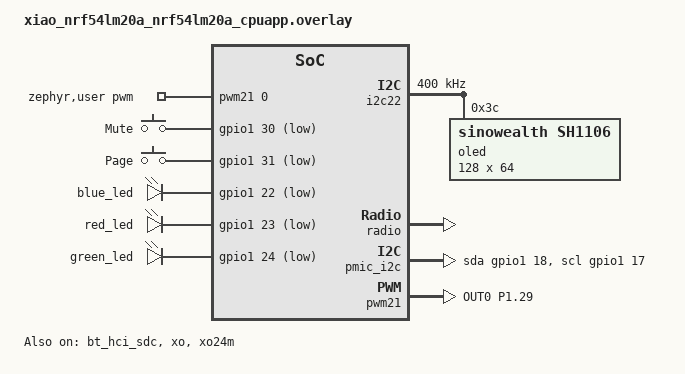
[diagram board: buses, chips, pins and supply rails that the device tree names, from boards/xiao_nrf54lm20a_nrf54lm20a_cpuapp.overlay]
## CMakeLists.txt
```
cmake_minimum_required(VERSION 3.20.0)

find_package(Zephyr REQUIRED HINTS $ENV{ZEPHYR_BASE})
project(claude_buddy)

target_sources(app PRIVATE
  src/main.c
  src/ble_svc.c
  src/mood.c
  src/buddy_cfg.c
  src/cfg_store.c
  src/face.c
  src/sound.c
  src/battery.c
  src/battery_gauge.c
  src/battery_log.c
  src/measure_mode.c
  src/battery_log_store.c
  src/buddy_clock.c
  src/buzzer.c
  src/ui.c
  src/motion.c
  src/shake.c
)

target_sources_ifdef(CONFIG_BUDDY_SMP_UPDATE app PRIVATE src/smp_update.c)

# The battery gauge needs a model of the cell. The SDK's sample ships an example; replace it with a model of your own cell
# (made with the nPM PowerUP app) by passing -DBUDDY_BATTERY_MODEL_DIR=<directory containing battery_model.inc>, or by setting
# the environment variable of the same name (sysbuild does not forward custom -D variables to the application; tools/build-xiao.sh uses the environment).
# The model is not copied into this repository because the SDK's files have their own license.
if(CONFIG_BUDDY_FUEL_GAUGE)
  if(NOT DEFINED BUDDY_BATTERY_MODEL_DIR AND DEFINED ENV{BUDDY_BATTERY_MODEL_DIR})
    set(BUDDY_BATTERY_MODEL_DIR $ENV{BUDDY_BATTERY_MODEL_DIR})
  endif()
  if(NOT DEFINED BUDDY_BATTERY_MODEL_DIR)
    set(BUDDY_BATTERY_MODEL_DIR ${ZEPHYR_NRF_MODULE_DIR}/samples/pmic/native/npm13xx_fuel_gauge/src)
  endif()
  target_include_directories(app PRIVATE ${BUDDY_BATTERY_MODEL_DIR})
endif()
```

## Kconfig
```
mainmenu "Claude Buddy"

config BUDDY_FUEL_GAUGE
	bool "Battery gauge for the nPM1300 power chip"
	default y if $(dt_alias_enabled,buddy-charger)
	select SENSOR
	select NRF_FUEL_GAUGE
	imply LED
	help
	  Reads the cell and the charger of an nPM1300 and estimates the charge with Nordic's fuel gauge library.
	  Turns on by itself when the board overlay defines the alias "buddy-charger" (the XIAO overlay does).

config BUDDY_CELL_THERMISTOR
	bool "The cell's thermistor is wired to the power chip's NTC pin"
	default y
	depends on BUDDY_FUEL_GAUGE
	help
	  Reports the cell's temperature (battery screen, web page). Turn it off on a board whose NTC pin has a
	  fixed resistor instead of the cell's thermistor (the XIAO nRF54LM20A): the reading would only show that
	  resistor, about 25 C, whatever the cell's temperature.

config BUDDY_BATTERY_SIMULATION
	bool "Accept battery readings written over Bluetooth"
	default y if !BUDDY_FUEL_GAUGE
	help
	  Lets the bridge (the web page's test section) pretend there is a battery, so the battery screen
	  and the low-battery warning can be tried on a board without a fuel gauge. Turn it off on hardware
	  that measures a real battery.

config BUDDY_SMP_UPDATE
	bool "Accept firmware updates over Bluetooth in the application"
	depends on BOOTLOADER_MCUBOOT
	default y
	select NCS_SAMPLE_MCUMGR_BT_OTA_DFU
	select MCUMGR_GRP_OS
	select MCUBOOT_BOOTUTIL_LIB
	help
	  MCUboot with two image slots, and the application itself runs the SMP server that takes the new image into the
	  second slot. With BUDDY_REQUIRE_PAIRING the SMP service needs an encrypted link, so only a paired bridge can
	  update. MCUboot checks the signature, swaps the images at the next restart, and swaps back if the new one does
	  not confirm itself (smp_update.c).

# The SDK's Bluetooth DFU helper makes the SMP service open to anyone; with pairing it needs the encrypted link.
# Kconfig takes the first default whose condition holds, and this file is read before the SDK's.
choice MCUMGR_TRANSPORT_BT_PERM
	default MCUMGR_TRANSPORT_BT_PERM_RW_ENCRYPT if BUDDY_SMP_UPDATE && BUDDY_REQUIRE_PAIRING
endchoice

config BUDDY_REQUIRE_PAIRING
	bool "Only talk to paired (bonded) centrals"
	default y
	select BT_SMP
	select BT_SETTINGS
	select BT_SMP_SC_PAIR_ONLY
	select BT_SMP_APP_PAIRING_ACCEPT
	help
	  Every characteristic except the version needs an encrypted link. The buddy accepts a new pairing only
	  while its pairing window is open: automatically for two minutes after boot while nothing is paired, and
	  after holding the mute button for 3 seconds. Holding it for 8 seconds forgets every pairing.
	  Pairing is LE Secure Connections "Just Works": it keeps strangers out, but someone attacking exactly while
	  the window is open could still pair.

source "Kconfig.zephyr"
```

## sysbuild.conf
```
# Seeed XIAO nRF54LM20A: MCUboot with two image slots in the on-chip memory (swap using move). The application takes
# the new image over Bluetooth itself (BUDDY_SMP_UPDATE). Sysbuild reads this file by itself.
SB_CONFIG_BOOTLOADER_MCUBOOT=y
SB_CONFIG_MCUBOOT_MODE_SWAP_USING_MOVE=y
SB_CONFIG_BOOT_SIGNATURE_TYPE_ED25519=y
# The public key is built into MCUboot, not stored in the chip's key store: the XIAO's USB-C probe (CMSIS-DAP) cannot
# run the key provisioning that nrfutil does over a J-Link.
SB_CONFIG_MCUBOOT_SIGNATURE_USING_KMU=n
```

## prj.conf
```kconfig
CONFIG_NCS_SAMPLES_DEFAULTS=y

CONFIG_BT=y
CONFIG_BT_PERIPHERAL=y
CONFIG_BT_DEVICE_NAME="Claude Buddy"
# The name gets the last two bytes of the device address appended at boot (see ble_svc.c), so buddies in range differ.
CONFIG_BT_DEVICE_NAME_DYNAMIC=y
CONFIG_BT_DEVICE_NAME_MAX=24
# Pairing (BUDDY_REQUIRE_PAIRING): up to three bridges (e.g. home, office, a spare); the oldest pairing is replaced
CONFIG_BT_MAX_PAIRED=3
CONFIG_BT_KEYS_OVERWRITE_OLDEST=y

CONFIG_LOG=y

CONFIG_DK_LIBRARY=y

CONFIG_DISPLAY=y
CONFIG_I2C=y
CONFIG_PWM=y

CONFIG_SYSTEM_WORKQUEUE_STACK_SIZE=2048

# Accept prepared (long/reliable) writes from centrals such as nRF Connect.
CONFIG_BT_ATT_PREPARE_COUNT=4

# Settings saved across power cycles (stored in the on-chip non-volatile memory)
CONFIG_FLASH=y
CONFIG_FLASH_MAP=y
CONFIG_ZMS=y
CONFIG_SETTINGS=y
```

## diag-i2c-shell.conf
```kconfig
# Diagnostic build: adds a serial shell with "i2c scan" to find the OLED address.
CONFIG_SHELL=y
CONFIG_I2C_SHELL=y
```

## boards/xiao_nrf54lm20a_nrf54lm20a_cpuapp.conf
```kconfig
# Settings for the Seeed XIAO nRF54LM20A (battery powered). The pins of what you connect to it are in the overlay next to this file.

# No cell temperature: the power chip's NTC pin has a fixed 10 k resistor, not the cell's thermistor.
CONFIG_BUDDY_CELL_THERMISTOR=n

# The accelerometer (motion.c sets its registers itself: Zephyr's LSM6DSL driver has no tap or free-fall interrupts).
CONFIG_LSM6DSL=n
# The accelerometer's supply is the power chip's LDO1 (see the overlay).
CONFIG_REGULATOR=y
```

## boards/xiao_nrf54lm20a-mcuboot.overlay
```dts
/*
 * MCUboot has no kernel, so it cannot use the board's power chip (an I2C device with a work queue) or its enable
 * regulator. Leave both to the application. tools/build-xiao.sh passes this file to the MCUboot image:
 *   -Dmcuboot_EXTRA_DTC_OVERLAY_FILE=<path to this file>
 * (Not sysbuild/mcuboot.overlay: that would replace MCUboot's own overlay, and MCUboot would be linked at the
 * application's address.)
 */

/delete-node/ &pmic;
/delete-node/ &pmic_i2c;
/delete-node/ &power_en;
```

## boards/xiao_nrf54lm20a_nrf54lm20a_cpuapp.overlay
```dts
/*
 * Seeed XIAO nRF54LM20A: display, buzzer and buttons on the XIAO header pins, and the board's nPM1300 as the battery gauge.
 *
 *   D4 (P1.03) SDA and D5 (P1.07) SCL  SH1106 128x64 OLED, I2C address 0x3c (the board's default XIAO I2C pins)
 *   D3 (P1.29)                         passive piezo buzzer to GND, PWM21 (optional)
 *   D2 (P1.30) button "mute"           to GND, internal pull-up (button 2 in main.c)
 *   D1 (P1.31) button "page"           to GND, internal pull-up (button 3 in main.c)
 * D0..D3 are the header pins with no default peripheral, so the board's uart21 (D6/D7), spi23 (D8..D10) and i2c22 stay usable.
 *   The board's own user button (P0.09) is button 1 (poke).
 * The display's supply comes from the XIAO's 3V3 pin, ground from a GND pin.
 */

#include <zephyr/dt-bindings/i2c/i2c.h>
#include <zephyr/dt-bindings/input/input-event-codes.h>
#include <zephyr/dt-bindings/regulator/npm13xx.h>

&pinctrl {
	pwm21_default: pwm21_default {
		group1 {
			psels = <NRF_PSEL(PWM_OUT0, 1, 29)>;
		};
	};

	pwm21_sleep: pwm21_sleep {
		group1 {
			psels = <NRF_PSEL(PWM_OUT0, 1, 29)>;
			low-power-enable;
		};
	};
};

&i2c22 {
	status = "okay";
	clock-frequency = <I2C_BITRATE_FAST>;
	/* One display row is 1 control byte + 128 data bytes in a single transfer. */
	zephyr,concat-buf-size = <256>;
	zephyr,flash-buf-max-size = <256>;

	oled: sh1106@3c {
		compatible = "sinowealth,sh1106";
		reg = <0x3c>;
		width = <128>;
		height = <64>;
		segment-offset = <2>;
		page-offset = <0>;
		display-offset = <0>;
		multiplex-ratio = <63>;
		segment-remap;
		com-invdir;
		prechargep = <0x22>;
	};
};

/* The board file selects Zephyr's own Bluetooth controller, which does not build in the SDK: use Nordic's. */
&bt_hci_controller {
	status = "disabled";
};

&bt_hci_sdc {
	status = "okay";
};

/* What Nordic's controller needs; the XIAO board file does not enable it. */
&radio {
	status = "okay";
};

&clock {
	status = "okay";
};

&xo {
	status = "okay";
};

&lfclk {
	status = "okay";
};

&xo24m {
	status = "okay";
};

/*
 * The board file puts the nPM1300's I2C on P1.15/P1.16, but Seeed's schematic (V1.0) has PMIC_SDA on P1.18 and PMIC_SCL
 * on P1.17 (4.7k pull-ups on the board). Without this the power chip is never found and there is no battery gauge.
 */
&pmic_i2c {
	sda-gpios = <&gpio1 18 GPIO_ACTIVE_HIGH>;
	scl-gpios = <&gpio1 17 GPIO_ACTIVE_HIGH>;
};

/*
 * The power chip's LED outputs drive the board's charge LEDs, which light at their reset default (Seeed's schematic: LED1
 * charging, LED0 charge failure), which can cost a few mA. Host mode leaves them off.
 */
&pmic {
	npm1300_leds: leds {
		compatible = "nordic,npm1300-led";
		nordic,led0-mode = "host";
		nordic,led1-mode = "host";
		nordic,led2-mode = "host";
	};
};

/*
 * Charge current for the planned LP402030 cell (200 mAh): 100 mA is 0.5C, the usual standard charge rate. The board file's
 * 150 mA would be 0.75C. The board has no cell thermistor input (NTC has a fixed 10 k to ground), so the charger cannot
 * stop for temperature; a gentler current makes up for some of that.
 */
&pmic_charger {
	current-microamp = <100000>;
};

/*
 * The accelerometer (LSM6DS3TR-C on i2c30, INT1 on P0.06) and the microphone run from the power chip's LDO1. The board
 * file sets it to 1.8 V, but the nRF's pins are at 3.3 V (VSYS_3V3) and the sensor's I2C pull-ups go to its own supply.
 * Going by the schematic (not measured), the nRF then cannot read a 1.8 V "high" (0.7 x VDD = 2.3 V), and its 3.3 V
 * outputs drive the sensor's pins above its supply. 3.3 V suits both sides (the sensor takes 1.71 to 3.6 V).
 */
&pmic {
	regulators {
		LDO1 {
			regulator-min-microvolt = <3300000>;
			regulator-max-microvolt = <3300000>;
			regulator-initial-mode = <NPM13XX_LDSW_MODE_LDO>;
		};
	};
};

/*
 * The RGB LED on P1.22/23/24 lights when its pin is low, but the board file declares it active high. The LED driver, which
 * the fuel gauge pulls in, then drives the pins low as "off" and the LED stays lit: confirmed on a board, where this cost
 * about 1.5 mA (1.75 mA idle before, 0.187 mA after). Declaring the true polarity makes "off" mean high.
 */
&blue_led {
	gpios = <&gpio1 22 GPIO_ACTIVE_LOW>;
};

&red_led {
	gpios = <&gpio1 23 GPIO_ACTIVE_LOW>;
};

&green_led {
	gpios = <&gpio1 24 GPIO_ACTIVE_LOW>;
};

&pwm21 {
	status = "okay";
	pinctrl-0 = <&pwm21_default>;
	pinctrl-1 = <&pwm21_sleep>;
	pinctrl-names = "default", "sleep";
};

/ {
	chosen {
		zephyr,display = &oled;
		zephyr,bt-hci = &bt_hci_sdc;
	};

	zephyr,user {
		pwms = <&pwm21 0 PWM_HZ(2000) PWM_POLARITY_NORMAL>;
	};

	/* Added after the board's own button, so the firmware sees them as buttons 2 and 3 (see main.c). */
	buttons {
		ext_button_mute: button_1 {
			gpios = <&gpio1 30 (GPIO_PULL_UP | GPIO_ACTIVE_LOW)>;
			label = "Mute";
			zephyr,code = <INPUT_KEY_1>;
		};

		ext_button_page: button_2 {
			gpios = <&gpio1 31 (GPIO_PULL_UP | GPIO_ACTIVE_LOW)>;
			label = "Page";
			zephyr,code = <INPUT_KEY_2>;
		};
	};

	aliases {
		buddy-charger = &pmic_charger;
	};
};
```

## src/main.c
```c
#include <errno.h>

#include <zephyr/kernel.h>
#include <zephyr/logging/log.h>

#include <dk_buttons_and_leds.h>

#include "ble_svc.h"
#include "battery_gauge.h"
#include "battery_log_store.h"
#include "buzzer.h"
#include "cfg_store.h"
#include "motion.h"
#include "ui.h"

LOG_MODULE_REGISTER(main, LOG_LEVEL_INF);

/*
 * The XIAO's own user button pokes. The mute button is also the pairing button: a short press toggles mute (acted on at
 * release), holding it 3 s opens the pairing window, 8 s forgets every pairing. The page button flips the pages. The
 * eye style is set from the web page.
 */
#define POKE_BUTTON DK_BTN1_MSK
#define MUTE_BUTTON DK_BTN2_MSK
#define PAGE_BUTTON DK_BTN3_MSK

static int on_battery(const struct battery_state *battery)
{
	ui_set_battery(battery);
	return 0;
}

static void on_motion(enum motion_event event)
{
	ui_post_motion((uint8_t)event);
}

static void on_link(bool connected)
{
	ui_set_connected(connected);
}

#define PAIR_HOLD_MS 3000
#define FORGET_HOLD_MS 8000
static bool pair_held_long;

static void pair_hold_fn(struct k_work *work)
{
	pair_held_long = true;
	ble_svc_pairing_open();
}

static void forget_hold_fn(struct k_work *work)
{
	pair_held_long = true;
	ble_svc_forget_bonds();
}

static K_WORK_DELAYABLE_DEFINE(pair_hold_work, pair_hold_fn);
static K_WORK_DELAYABLE_DEFINE(forget_hold_work, forget_hold_fn);

static void toggle_mute(void)
{
	struct buddy_cfg cfg;

	cfg_store_toggle_mute();
	cfg_store_get(&cfg);
	ui_show_mute_toast((cfg.flags & BUDDY_CFG_FLAG_MUTED) != 0);
	buzzer_play(SOUND_UNMUTED); /* silent unless the buzzer was just unmuted */
}

static void on_button(uint32_t button_state, uint32_t has_changed)
{
	uint32_t pressed = button_state & has_changed;
	uint32_t released = ~button_state & has_changed;

	if (pressed & MUTE_BUTTON) {
		pair_held_long = false;
		k_work_reschedule(&pair_hold_work, K_MSEC(PAIR_HOLD_MS));
		k_work_reschedule(&forget_hold_work, K_MSEC(FORGET_HOLD_MS));
	}

	if (pressed & POKE_BUTTON) {
		ui_post_poke();
	}
	if ((released & MUTE_BUTTON) != 0) {
		(void)k_work_cancel_delayable(&pair_hold_work);
		(void)k_work_cancel_delayable(&forget_hold_work);
		if (!pair_held_long) {
			toggle_mute();
		}
	}
	if (pressed & PAGE_BUTTON) {
		ui_post_page_toggle();
	}
}

int main(void)
{
	int err;

	err = cfg_store_init();
	if (err != 0) {
		LOG_WRN("Continuing with default settings");
	}

	err = battery_log_store_init();
	if (err != 0) {
		LOG_WRN("Continuing without the saved battery log");
	}

	err = dk_buttons_init(on_button);
	if (err != 0) {
		LOG_ERR("Buttons init failed (%d)", err);
		return 0;
	}

	err = buzzer_init();
	if (err != 0) {
		LOG_WRN("Continuing without a buzzer");
	}

	err = battery_gauge_init();
	if (err != 0) {
		LOG_WRN("Continuing without a battery gauge");
	}

	err = ui_init();
	if (err != 0) {
		LOG_ERR("UI init failed (%d)", err);
		return 0;
	}

	err = motion_init(on_motion);
	if (err != 0 && err != -ENODEV) {
		LOG_WRN("Continuing without the accelerometer (%d)", err);
	}

	err = ble_svc_init(ui_post_event, on_link, ui_set_usage, buzzer_set_time, on_battery);
	if (err != 0) {
		return 0;
	}

	return 0; /* everything else happens in other threads and callbacks */
}
```

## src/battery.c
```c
#include <errno.h>
#include <stdlib.h>

#include "battery.h"

#define CRITICAL_ENTER 10
#define CRITICAL_EXIT 15
#define LOW_ENTER 20
#define LOW_EXIT 25

int battery_from_wire(struct battery_state *s, const uint8_t *buf, size_t len)
{
	if (len != BATTERY_WIRE_SIZE || buf[0] != BATTERY_FORMAT || (buf[1] & ~BATTERY_FLAGS_KNOWN) != 0 ||
	    buf[2] > 100) {
		return -EINVAL;
	}
	uint16_t mv = (uint16_t)(buf[3] | (buf[4] << 8));
	bool present = (buf[1] & BATTERY_FLAG_PRESENT) != 0;
	bool charging = (buf[1] & BATTERY_FLAG_CHARGING) != 0;
	bool full = (buf[1] & BATTERY_FLAG_FULL) != 0;

	if (mv > 5000 || (charging && full) || (!present && (buf[1] != 0 || buf[2] != 0 || mv != 0))) {
		return -EINVAL;
	}
	s->present = present;
	s->charging = charging;
	s->full = full;
	s->percent = buf[2];
	s->mv = mv;
	s->power_known = false; /* a test write carries no current or temperature */
	s->current_ma = 0;
	s->die_temp_c = 0;
	s->cell_temp_known = false;
	s->cell_temp_c = 0;
	return 0;
}

void battery_to_wire(const struct battery_state *s, uint8_t out[BATTERY_WIRE_SIZE_FULL])
{
	int16_t current = s->power_known ? s->current_ma : INT16_MIN;
	int8_t temp = s->power_known ? s->die_temp_c : INT8_MIN;

	out[0] = BATTERY_FORMAT;
	out[1] = (s->present ? BATTERY_FLAG_PRESENT : 0) | (s->charging ? BATTERY_FLAG_CHARGING : 0) |
		 (s->full ? BATTERY_FLAG_FULL : 0);
	out[2] = s->percent;
	out[3] = (uint8_t)s->mv;
	out[4] = (uint8_t)(s->mv >> 8);
	out[5] = (uint8_t)current;
	out[6] = (uint8_t)((uint16_t)current >> 8);
	out[7] = (uint8_t)temp;
	out[8] = s->cell_temp_known ? (uint8_t)s->cell_temp_c : (uint8_t)INT8_MIN;
}

static int8_t celsius_to_i8(float c)
{
	c += c >= 0.0f ? 0.5f : -0.5f; /* round to nearest; the cast truncates */
	return (int8_t)(c > 125.0f ? 125 : c < -40.0f ? -40 : c);
}

void battery_state_set_power(struct battery_state *s, float current_a, float die_temp_c, float cell_temp_c)
{
	s->power_known = false;
	s->current_ma = 0;
	s->die_temp_c = 0;
	s->cell_temp_known = false;
	s->cell_temp_c = 0;
	if (!s->present) {
		return;
	}
	if (cell_temp_c == cell_temp_c) { /* not NaN */
		s->cell_temp_c = celsius_to_i8(cell_temp_c);
		s->cell_temp_known = true;
	}
	if (current_a != current_a || die_temp_c != die_temp_c) {
		return;
	}
	float ma = current_a * 1000.0f;

	ma += ma >= 0.0f ? 0.5f : -0.5f;
	s->current_ma = (int16_t)(ma > 5000.0f ? 5000 : ma < -5000.0f ? -5000 : ma);
	s->die_temp_c = celsius_to_i8(die_temp_c);
	s->power_known = true;
}

bool battery_state_differs(const struct battery_state *a, const struct battery_state *b)
{
	if (a->present != b->present || a->charging != b->charging || a->full != b->full || a->percent != b->percent ||
	    a->mv != b->mv || a->power_known != b->power_known || a->cell_temp_known != b->cell_temp_known) {
		return true;
	}
	return (a->power_known && (abs(a->current_ma - b->current_ma) >= BATTERY_CURRENT_STEP_MA ||
				   abs(a->die_temp_c - b->die_temp_c) >= BATTERY_TEMP_STEP_C)) ||
	       (a->cell_temp_known && abs(a->cell_temp_c - b->cell_temp_c) >= BATTERY_TEMP_STEP_C);
}

void battery_charge_from_npm_status(uint32_t status, bool *charging, bool *full)
{
	*full = (status & BATTERY_NPM_STATUS_COMPLETE) != 0;
	*charging = !*full && (status & (BATTERY_NPM_STATUS_TRICKLE | BATTERY_NPM_STATUS_CC | BATTERY_NPM_STATUS_CV)) != 0;
}

void battery_state_from_gauge(struct battery_state *out, float soc_percent, uint16_t mv, uint32_t npm_status)
{
	if (mv < BATTERY_PRESENT_MIN_MV || mv > 5000) {
		*out = (struct battery_state){0};
		return;
	}
	out->present = true;
	battery_charge_from_npm_status(npm_status, &out->charging, &out->full);
	if (!(soc_percent > 0.0f)) { /* also catches NaN */
		out->percent = 0;
	} else if (soc_percent >= 100.0f) {
		out->percent = 100;
	} else {
		out->percent = (uint8_t)(soc_percent + 0.5f);
	}
	out->mv = mv;
}

uint8_t battery_percent_from_mv(uint16_t mv)
{
	static const struct {
		uint16_t mv;
		uint8_t pct;
	} curve[] = {
		{3270, 0},   {3610, 5},   {3690, 10},  {3710, 15},  {3730, 20},  {3750, 25},  {3770, 30},
		{3790, 35},  {3800, 40},  {3820, 45},  {3840, 50},  {3850, 55},  {3870, 60},  {3910, 65},
		{3950, 70},  {3980, 75},  {4020, 80},  {4080, 85},  {4110, 90},  {4150, 95},  {4200, 100},
	};
	const size_t n = sizeof(curve) / sizeof(curve[0]);

	if (mv <= curve[0].mv) {
		return 0;
	}
	if (mv >= curve[n - 1].mv) {
		return 100;
	}
	for (size_t i = 1; i < n; i++) {
		if (mv <= curve[i].mv) {
			uint32_t span = curve[i].mv - curve[i - 1].mv;
			uint32_t into = mv - curve[i - 1].mv;

			return (uint8_t)(curve[i - 1].pct + (into * (curve[i].pct - curve[i - 1].pct) + span / 2) / span);
		}
	}
	return 100;
}

enum battery_level battery_level_next(enum battery_level prev, const struct battery_state *s)
{
	if (!s->present) {
		return BATTERY_NONE;
	}
	if (s->charging || s->full) {
		return BATTERY_OK;
	}
	if (s->percent <= CRITICAL_ENTER || (prev == BATTERY_CRITICAL && s->percent < CRITICAL_EXIT)) {
		return BATTERY_CRITICAL;
	}
	if (s->percent <= LOW_ENTER ||
	    ((prev == BATTERY_LOW || prev == BATTERY_CRITICAL) && s->percent < LOW_EXIT)) {
		return BATTERY_LOW;
	}
	return BATTERY_OK;
}
```

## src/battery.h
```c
/*
 * Battery state, its Bluetooth format, and the low-battery levels. Pure logic (no Zephyr), testable on a host.
 * The reading itself comes from a fuel gauge on hardware that has one, or from a test write over Bluetooth.
 */

#ifndef BATTERY_H_
#define BATTERY_H_

#include <stdbool.h>
#include <stddef.h>
#include <stdint.h>

#define BATTERY_WIRE_SIZE 5      /* the test write: format, flags, percent, millivolts */
#define BATTERY_WIRE_SIZE_FULL 9 /* what is read and notified: those five, then battery current, die and cell temperature */
#define BATTERY_FORMAT 1

#define BATTERY_FLAG_PRESENT 0x01
#define BATTERY_FLAG_CHARGING 0x02
#define BATTERY_FLAG_FULL 0x04 /* plugged in and the charge is complete */
#define BATTERY_FLAGS_KNOWN (BATTERY_FLAG_PRESENT | BATTERY_FLAG_CHARGING | BATTERY_FLAG_FULL)

struct battery_state {
	bool present;
	bool charging;
	bool full;
	uint8_t percent; /* 0..100 */
	uint16_t mv;     /* cell voltage in millivolts, 0 = unknown */
	bool power_known; /* current_ma and die_temp_c are valid (a power chip measured them) */
	int16_t current_ma; /* battery current: positive = charging, negative = discharging */
	int8_t die_temp_c;  /* temperature of the power chip */
	bool cell_temp_known; /* cell_temp_c is valid (a thermistor on the cell is connected and read) */
	int8_t cell_temp_c;   /* temperature of the cell, from its thermistor */
};

/* A change in current or temperature smaller than this is not worth waking the display and the radio for. */
#define BATTERY_CURRENT_STEP_MA 10
#define BATTERY_TEMP_STEP_C 2

enum battery_level {
	BATTERY_NONE, /* no battery: nothing to warn about */
	BATTERY_OK,
	BATTERY_LOW,
	BATTERY_CRITICAL,
};

/* Bits of the power chip's (nPM1300) charger status register, as the Zephyr driver reports them. */
#define BATTERY_NPM_STATUS_COMPLETE 0x02
#define BATTERY_NPM_STATUS_TRICKLE 0x04
#define BATTERY_NPM_STATUS_CC 0x08
#define BATTERY_NPM_STATUS_CV 0x10

/* Below this cell voltage there is no battery connected (the chip then reads a floating pin). */
#define BATTERY_PRESENT_MIN_MV 2500

/* Decodes the charger status: `charging` while any charging phase runs, `full` once the charge is complete. */
void battery_charge_from_npm_status(uint32_t status, bool *charging, bool *full);

/* Builds the battery state from a fuel gauge reading (state of charge in percent, may be slightly out of range). */
void battery_state_from_gauge(struct battery_state *out, float soc_percent, uint16_t mv, uint32_t npm_status);

/* Adds the power chip's measurements: battery current in amperes (positive = charging), the chip's die temperature and
 * the cell's temperature in degrees C. Out-of-range values are clamped; NaN, or no battery, leaves the value unknown
 * (the cell temperature is unknown separately: a board may have no thermistor on the cell). */
void battery_state_set_power(struct battery_state *s, float current_a, float die_temp_c, float cell_temp_c);

/* Whether `b` differs from `a` enough to be passed on: any change of the charge state, percent or voltage, but of
 * current and temperature only a change of a few steps (they jitter on every reading). */
bool battery_state_differs(const struct battery_state *a, const struct battery_state *b);

/*
 * Wire format: [format, flags, percent, mv (u16 little endian)], and when read, four more bytes: battery current in mA
 * (i16 little endian, positive = charging), die temperature and cell temperature in degrees C (i8 each); 0x8000 and
 * 0x80 mean unknown.
 * battery_from_wire takes the five-byte form only (test writes) and returns 0 or -EINVAL (and leaves *s alone).
 */
int battery_from_wire(struct battery_state *s, const uint8_t *buf, size_t len);
void battery_to_wire(const struct battery_state *s, uint8_t out[BATTERY_WIRE_SIZE_FULL]);

/* State of charge from the open-circuit voltage of a one-cell lithium polymer battery (0..100). */
uint8_t battery_percent_from_mv(uint16_t mv);

/*
 * The warning level for the new reading. There is no warning while charging. `prev` gives the levels some
 * hysteresis so the warning does not flicker around a threshold.
 */
enum battery_level battery_level_next(enum battery_level prev, const struct battery_state *s);

#endif /* BATTERY_H_ */
```

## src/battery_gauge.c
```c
#include <errno.h>
#include <math.h>
#include <string.h>

#include <zephyr/device.h>
#include <zephyr/devicetree.h>
#include <zephyr/kernel.h>
#include <zephyr/logging/log.h>

#include "battery.h"
#include "battery_gauge.h"

LOG_MODULE_REGISTER(battery_gauge, LOG_LEVEL_INF);

#ifdef CONFIG_BUDDY_FUEL_GAUGE

#include <zephyr/drivers/sensor.h>
#include <zephyr/drivers/sensor/npm13xx_charger.h>

#include <nrf_fuel_gauge.h>

#include "battery_log_store.h"
#include "buzzer.h"
#include "ui.h"

#define CHARGER_NODE DT_ALIAS(buddy_charger)
#define POLL_ON_BATTERY_S 10
#define POLL_ON_USB_S 5

/* The cell model comes from the SDK's sample unless you point BUDDY_BATTERY_MODEL_DIR at your own (see docs/FIRMWARE.md). */
static const struct battery_model model = {
#include "battery_model.inc"
};

static const struct device *const charger = DEVICE_DT_GET(CHARGER_NODE);

struct reading {
	float voltage; /* V */
	float current; /* A, negative = discharging (Zephyr convention) */
	float temp;    /* degrees C, from the cell's thermistor (25 if it cannot be read, for the fuel gauge) */
	bool temp_ok;  /* the thermistor was read */
	float die_temp; /* degrees C, the power chip itself; NaN if it cannot be read */
	int32_t chg_status;
	bool vbus;
};

static float sensor_to_float(const struct sensor_value *v)
{
	return (float)v->val1 + (float)v->val2 / 1000000.0f;
}

static int read_chip(struct reading *r)
{
	struct sensor_value v;
	int err = sensor_sample_fetch(charger);

	if (err != 0) {
		return err;
	}
	sensor_channel_get(charger, SENSOR_CHAN_GAUGE_VOLTAGE, &v);
	r->voltage = sensor_to_float(&v);
	r->temp_ok = sensor_channel_get(charger, SENSOR_CHAN_GAUGE_TEMP, &v) == 0;
	r->temp = r->temp_ok ? sensor_to_float(&v) : 25.0f;
	sensor_channel_get(charger, SENSOR_CHAN_GAUGE_AVG_CURRENT, &v);
	r->current = sensor_to_float(&v);
	r->die_temp = sensor_channel_get(charger, SENSOR_CHAN_DIE_TEMP, &v) == 0 ? sensor_to_float(&v) : NAN;
	sensor_channel_get(charger, SENSOR_CHAN_NPM13XX_CHARGER_STATUS, &v);
	r->chg_status = v.val1;

	err = sensor_attr_get(charger, SENSOR_CHAN_NPM13XX_CHARGER_VBUS_STATUS, SENSOR_ATTR_NPM13XX_CHARGER_VBUS_PRESENT, &v);
	r->vbus = (err == 0) && (v.val1 != 0);
	return 0;
}

/* Tells the library what the charger is doing, as it needs for the state of health and the charge phase. */
static void inform_charge_state(int32_t chg_status)
{
	union nrf_fuel_gauge_ext_state_info_data info;

	if (chg_status & BATTERY_NPM_STATUS_COMPLETE) {
		info.charge_state = NRF_FUEL_GAUGE_CHARGE_STATE_COMPLETE;
	} else if (chg_status & BATTERY_NPM_STATUS_TRICKLE) {
		info.charge_state = NRF_FUEL_GAUGE_CHARGE_STATE_TRICKLE;
	} else if (chg_status & BATTERY_NPM_STATUS_CC) {
		/* "limited": the charge current may be held back by the USB limit or by temperature. */
		info.charge_state = NRF_FUEL_GAUGE_CHARGE_STATE_CC_LIMITED;
	} else if (chg_status & BATTERY_NPM_STATUS_CV) {
		info.charge_state = NRF_FUEL_GAUGE_CHARGE_STATE_CV;
	} else {
		info.charge_state = NRF_FUEL_GAUGE_CHARGE_STATE_IDLE;
	}
	(void)nrf_fuel_gauge_ext_state_update(NRF_FUEL_GAUGE_EXT_STATE_INFO_CHARGE_STATE_CHANGE, &info);
}

static int start_gauge(const struct reading *r)
{
	struct sensor_value v;
	struct nrf_fuel_gauge_init_parameters params =
		NRF_FUEL_GAUGE_DEFAULT_INIT_PARAMETERS_SECONDARY(r->voltage, -r->current, r->temp, &model);
	float charge_limit;
	int err;

	/* The library counts current the other way round: negative = charging. */
	err = nrf_fuel_gauge_init(&params, NULL);
	if (err < 0) {
		return err;
	}
	sensor_channel_get(charger, SENSOR_CHAN_GAUGE_DESIRED_CHARGING_CURRENT, &v);
	charge_limit = sensor_to_float(&v);
	(void)nrf_fuel_gauge_ext_state_update(NRF_FUEL_GAUGE_EXT_STATE_INFO_CHARGE_CURRENT_LIMIT,
					      &(union nrf_fuel_gauge_ext_state_info_data){.charge_current_limit = charge_limit});
	(void)nrf_fuel_gauge_ext_state_update(NRF_FUEL_GAUGE_EXT_STATE_INFO_TERM_CURRENT,
					      &(union nrf_fuel_gauge_ext_state_info_data){.charge_term_current = charge_limit / 10.0f});
	inform_charge_state(r->chg_status);
	return 0;
}

static void gauge_thread(void *a, void *b, void *c)
{
	ARG_UNUSED(a);
	ARG_UNUSED(b);
	ARG_UNUSED(c);

	bool running = false;
	bool vbus_before = false;
	int32_t status_before = 0;
	int64_t last_ms = 0;
	struct battery_state last_sent = {0};
	bool sent_once = false;
	struct battery_log_acc log_acc;
	int64_t log_ms = k_uptime_get();

	battery_log_acc_init(&log_acc);

	for (;;) {
		struct reading r;
		struct battery_state state = {0};
		float soc = 0.0f;
		uint16_t mv = 0;

		if (read_chip(&r) != 0) {
			LOG_WRN("Cannot read the power chip");
			k_sleep(K_SECONDS(POLL_ON_BATTERY_S));
			continue;
		}
		mv = (uint16_t)(r.voltage * 1000.0f);

		if (mv < BATTERY_PRESENT_MIN_MV || mv > 5000) {
			running = false; /* no battery: start again from scratch when one is connected */
		} else {
			if (!running) {
				if (start_gauge(&r) == 0) {
					running = true;
					vbus_before = r.vbus;
					status_before = r.chg_status;
					last_ms = k_uptime_get();
					LOG_INF("Fuel gauge started at %u mV", mv);
				} else {
					LOG_ERR("Fuel gauge did not start");
				}
			}
			if (running) {
				if (r.vbus != vbus_before) {
					vbus_before = r.vbus;
					(void)nrf_fuel_gauge_ext_state_update(
						r.vbus ? NRF_FUEL_GAUGE_EXT_STATE_INFO_VBUS_CONNECTED
						       : NRF_FUEL_GAUGE_EXT_STATE_INFO_VBUS_DISCONNECTED, NULL);
				}
				if (r.chg_status != status_before) {
					status_before = r.chg_status;
					inform_charge_state(r.chg_status);
				}
				int64_t now = k_uptime_get();
				float delta = (float)(now - last_ms) / 1000.0f;

				last_ms = now;
				if (nrf_fuel_gauge_process(r.voltage, -r.current, r.temp, delta, &soc, NULL) < 0) {
					LOG_ERR("Fuel gauge failed");
					running = false;
				}
			}
		}
		battery_state_from_gauge(&state, running ? soc : 0.0f, mv, r.chg_status);
		battery_state_set_power(&state, r.current, r.die_temp,
					IS_ENABLED(CONFIG_BUDDY_CELL_THERMISTOR) && r.temp_ok ? r.temp : NAN);
		if (!sent_once || battery_state_differs(&state, &last_sent)) {
			ui_set_battery(&state); /* only when something changed: every message wakes the display code */
			last_sent = state;
			sent_once = true;
		}
		if (mv >= BATTERY_PRESENT_MIN_MV && mv <= 5000) { /* the hourly log: only with a battery to log */
			struct battery_log_record rec;
			int64_t now = k_uptime_get();

			if (battery_log_acc_add(&log_acc, (uint32_t)(now - log_ms), (int32_t)(r.current * 1000000.0f), ui_display_lit(),
						r.vbus || state.charging || state.full, ui_measure_active(), state.percent, mv, buzzer_clock_hour(), &rec)) {
				battery_log_store_add(&rec);
			}
			log_ms = now;
		} else {
			battery_log_acc_init(&log_acc); /* no battery: the hour starts again when one is connected */
			log_ms = k_uptime_get();
		}
		LOG_DBG("%u mV, %d mA, %d C (die %d C), %u %%", mv, (int)(r.current * 1000.0f), (int)r.temp, (int)r.die_temp,
			state.percent);
		k_sleep(K_SECONDS(r.vbus ? POLL_ON_USB_S : POLL_ON_BATTERY_S));
	}
}

K_THREAD_DEFINE(battery_gauge_tid, 4096, gauge_thread, NULL, NULL, NULL, 10, 0, 2000);

int battery_gauge_init(void)
{
	if (!device_is_ready(charger)) {
		LOG_ERR("The power chip is not ready; no battery gauge");
		k_thread_abort(battery_gauge_tid);
		return 0;
	}
	LOG_INF("Battery gauge on");
	return 0;
}

#else /* no gauge on this board */

int battery_gauge_init(void)
{
	return 0;
}

#endif
```

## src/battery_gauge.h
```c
/*
 * Battery gauge for boards with an nPM1300 power chip (the XIAO nRF54LM20A): reads the cell and the charger every few
 * seconds, runs Nordic's fuel gauge library and hands the result to the battery screen (ui_set_battery).
 * Boards without the chip build a stub. Needs the "buddy-charger" alias in the board overlay.
 */

#ifndef BATTERY_GAUGE_H_
#define BATTERY_GAUGE_H_

/* Starts the gauge thread. Returns 0 also when this board has no gauge. */
int battery_gauge_init(void);

#endif /* BATTERY_GAUGE_H_ */
```

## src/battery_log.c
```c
#include <errno.h>
#include <string.h>

#include "battery_log.h"

void battery_log_acc_init(struct battery_log_acc *acc)
{
	memset(acc, 0, sizeof(*acc));
}

static int16_t clamp_i16(int64_t v)
{
	return v > INT16_MAX ? INT16_MAX : (v < INT16_MIN ? INT16_MIN : (int16_t)v);
}

bool battery_log_acc_add(struct battery_log_acc *acc, uint32_t dt_ms, int32_t current_ua, bool display_lit, bool on_usb,
			 bool measure, uint8_t percent, uint16_t mv, int hour, struct battery_log_record *out)
{
	acc->elapsed_ms += dt_ms;
	acc->current_ua_ms += (int64_t)current_ua * dt_ms;
	if (display_lit) {
		acc->lit_ms += dt_ms;
	}
	if (on_usb) {
		acc->flags |= BATTERY_LOG_FLAG_ON_USB;
	}
	if (measure) {
		acc->flags |= BATTERY_LOG_FLAG_MEASURE;
	}
	if (acc->elapsed_ms < BATTERY_LOG_PERIOD_MS) {
		return false;
	}
	memset(out, 0, sizeof(*out));
	out->hour = (hour >= 0 && hour <= 23) ? (uint8_t)hour : BATTERY_LOG_HOUR_UNKNOWN;
	out->flags = acc->flags;
	out->percent = percent;
	out->mv = mv;
	out->avg_current_10ua = clamp_i16(acc->current_ua_ms / (int64_t)acc->elapsed_ms / 10);
	out->lit_s = (uint16_t)(acc->lit_ms / 1000u > UINT16_MAX ? UINT16_MAX : acc->lit_ms / 1000u);
	battery_log_acc_init(acc);
	return true;
}

void battery_log_ring_init(struct battery_log_ring *ring)
{
	memset(ring, 0, sizeof(*ring));
}

unsigned battery_log_ring_add(struct battery_log_ring *ring, struct battery_log_record *rec)
{
	unsigned slot;

	rec->seq = ++ring->newest;
	slot = battery_log_slot_of(rec->seq);
	ring->slot[slot] = *rec;
	return slot;
}

bool battery_log_ring_restore(struct battery_log_ring *ring, const struct battery_log_record *rec)
{
	if (rec->seq == 0) {
		return false;
	}
	struct battery_log_record *slot = &ring->slot[battery_log_slot_of(rec->seq)];

	if (rec->seq > slot->seq) { /* flash can hand them back in any order: the newer one keeps the slot */
		*slot = *rec;
	}
	if (rec->seq > ring->newest) {
		ring->newest = rec->seq;
	}
	return true;
}

const struct battery_log_record *battery_log_ring_get(const struct battery_log_ring *ring, uint32_t seq)
{
	const struct battery_log_record *rec;

	if (seq == 0 || seq > ring->newest) {
		return NULL;
	}
	rec = &ring->slot[battery_log_slot_of(seq)];
	return rec->seq == seq ? rec : NULL;
}

unsigned battery_log_ring_count(const struct battery_log_ring *ring)
{
	unsigned n = 0;

	for (unsigned i = 0; i < BATTERY_LOG_SLOTS; i++) {
		if (ring->slot[i].seq != 0) {
			n++;
		}
	}
	return n;
}

static void put_u32(uint8_t *p, uint32_t v)
{
	p[0] = (uint8_t)v;
	p[1] = (uint8_t)(v >> 8);
	p[2] = (uint8_t)(v >> 16);
	p[3] = (uint8_t)(v >> 24);
}

static uint32_t get_u32(const uint8_t *p)
{
	return (uint32_t)p[0] | ((uint32_t)p[1] << 8) | ((uint32_t)p[2] << 16) | ((uint32_t)p[3] << 24);
}

void battery_log_record_to_wire(const struct battery_log_record *rec, uint8_t out[BATTERY_LOG_RECORD_SIZE])
{
	put_u32(out, rec->seq);
	out[4] = rec->hour;
	out[5] = rec->flags;
	out[6] = rec->percent;
	out[7] = (uint8_t)rec->mv;
	out[8] = (uint8_t)(rec->mv >> 8);
	out[9] = (uint8_t)(uint16_t)rec->avg_current_10ua;
	out[10] = (uint8_t)((uint16_t)rec->avg_current_10ua >> 8);
	out[11] = (uint8_t)rec->lit_s;
	out[12] = (uint8_t)(rec->lit_s >> 8);
}

int battery_log_record_from_wire(struct battery_log_record *rec, const uint8_t *buf, size_t len)
{
	if (len != BATTERY_LOG_RECORD_SIZE || get_u32(buf) == 0) {
		return -EINVAL;
	}
	rec->seq = get_u32(buf);
	rec->hour = buf[4];
	rec->flags = buf[5];
	rec->percent = buf[6];
	rec->mv = (uint16_t)(buf[7] | (buf[8] << 8));
	rec->avg_current_10ua = (int16_t)(uint16_t)(buf[9] | (buf[10] << 8));
	rec->lit_s = (uint16_t)(buf[11] | (buf[12] << 8));
	return 0;
}

size_t battery_log_read_wire(const struct battery_log_ring *ring, uint32_t selected, uint8_t out[BATTERY_LOG_READ_MAX])
{
	const struct battery_log_record *rec = battery_log_ring_get(ring, selected);
	unsigned count = battery_log_ring_count(ring);

	put_u32(out, ring->newest);
	out[4] = (uint8_t)count;
	out[5] = (uint8_t)(count >> 8);
	if (rec == NULL) {
		return BATTERY_LOG_READ_HEADER;
	}
	battery_log_record_to_wire(rec, out + BATTERY_LOG_READ_HEADER);
	return BATTERY_LOG_READ_MAX;
}
```

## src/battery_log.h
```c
/*
 * Hourly battery log: once an hour the buddy records the charge, the cell voltage, the average battery current and how
 * long the display was lit. The records are kept in flash (see battery_log_store.h) and read out over Bluetooth, so the
 * real use of a day can be seen without a power profiler. Pure logic (no Zephyr), testable on a host.
 */

#ifndef BATTERY_LOG_H_
#define BATTERY_LOG_H_

#include <stdbool.h>
#include <stddef.h>
#include <stdint.h>

#define BATTERY_LOG_PERIOD_MS (3600u * 1000u)
#define BATTERY_LOG_SLOTS 336 /* two weeks of hourly records */
#define BATTERY_LOG_HOUR_UNKNOWN 0xFF

#define BATTERY_LOG_FLAG_ON_USB 0x01  /* USB power or charging at some point in the hour: the current is not the buddy's use */
#define BATTERY_LOG_FLAG_PARTIAL 0x02 /* the hour was cut short (not used by the firmware yet; reserved) */
#define BATTERY_LOG_FLAG_MEASURE 0x04 /* a measurement mode held the buddy in one state at some point in the hour */

/* Wire format of one record: seq (u32 le), hour of day when it closed (0..23, 0xFF = unknown), flags, percent,
 * millivolts (u16 le), average battery current in units of 10 microamperes (i16 le, positive = charging), seconds the
 * display was lit (u16 le). */
#define BATTERY_LOG_RECORD_SIZE 13
/* What the log characteristic returns: newest seq (u32 le), number of records held (u16 le), then the selected record
 * if there is one. Stays within the 20 bytes of a default ATT read. */
#define BATTERY_LOG_READ_HEADER 6
#define BATTERY_LOG_READ_MAX (BATTERY_LOG_READ_HEADER + BATTERY_LOG_RECORD_SIZE)

struct battery_log_record {
	uint32_t seq; /* 1, 2, 3 ... and kept across restarts; 0 = none */
	uint8_t hour;
	uint8_t flags;
	uint8_t percent;
	uint16_t mv;
	int16_t avg_current_10ua;
	uint16_t lit_s;
};

/* The hour being collected. */
struct battery_log_acc {
	uint32_t elapsed_ms;
	uint32_t lit_ms;
	int64_t current_ua_ms; /* sum of current (microamperes, positive = charging) x time (ms) */
	uint8_t flags;
};

void battery_log_acc_init(struct battery_log_acc *acc);

/*
 * Adds a sample that covers the last `dt_ms`. When that completes an hour, fills *out (with seq 0: the ring numbers it)
 * and returns true; the next hour then starts empty. The charge and voltage in the record are those of the closing sample.
 */
bool battery_log_acc_add(struct battery_log_acc *acc, uint32_t dt_ms, int32_t current_ua, bool display_lit, bool on_usb,
			 bool measure, uint8_t percent, uint16_t mv, int hour, struct battery_log_record *out);

/* The records, newest overwriting oldest. */
struct battery_log_ring {
	struct battery_log_record slot[BATTERY_LOG_SLOTS];
	uint32_t newest; /* 0 = empty */
};

void battery_log_ring_init(struct battery_log_ring *ring);

/* Appends a record, giving it the next sequence number (stored into *rec). Returns its slot. */
unsigned battery_log_ring_add(struct battery_log_ring *ring, struct battery_log_record *rec);

/* Puts back a record read from flash (it keeps its seq). Returns false if it does not belong in the ring. */
bool battery_log_ring_restore(struct battery_log_ring *ring, const struct battery_log_record *rec);

/* The slot a sequence number lives in. */
static inline unsigned battery_log_slot_of(uint32_t seq)
{
	return (seq - 1) % BATTERY_LOG_SLOTS;
}

/* The record with that sequence number, or NULL if it was never written or is overwritten. */
const struct battery_log_record *battery_log_ring_get(const struct battery_log_ring *ring, uint32_t seq);

/* How many records are held. */
unsigned battery_log_ring_count(const struct battery_log_ring *ring);

void battery_log_record_to_wire(const struct battery_log_record *rec, uint8_t out[BATTERY_LOG_RECORD_SIZE]);
/* Returns 0, or -EINVAL for a wrong length or a sequence number of 0. */
int battery_log_record_from_wire(struct battery_log_record *rec, const uint8_t *buf, size_t len);

/* Builds the answer to a read when `selected` was written last: the header and, if held, that record. Returns the length. */
size_t battery_log_read_wire(const struct battery_log_ring *ring, uint32_t selected, uint8_t out[BATTERY_LOG_READ_MAX]);

#endif /* BATTERY_LOG_H_ */
```

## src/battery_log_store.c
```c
#include <errno.h>
#include <stdio.h>
#include <stdlib.h>

#include <zephyr/kernel.h>
#include <zephyr/logging/log.h>
#include <zephyr/settings/settings.h>
#include <zephyr/spinlock.h>

#include "battery_log_store.h"

LOG_MODULE_REGISTER(battery_log_store, LOG_LEVEL_INF);

static struct battery_log_ring ring;
static struct k_spinlock lock;

/* Each record is its own setting, "battery_log/<slot>", so an hour costs one small flash write. */
static int log_set(const char *name, size_t len, settings_read_cb read_cb, void *cb_arg)
{
	uint8_t wire[BATTERY_LOG_RECORD_SIZE];
	struct battery_log_record rec;

	if (len != sizeof(wire) || read_cb(cb_arg, wire, sizeof(wire)) != sizeof(wire)) {
		return -EINVAL;
	}
	if (battery_log_record_from_wire(&rec, wire, sizeof(wire)) != 0 || battery_log_slot_of(rec.seq) != strtoul(name, NULL, 10)) {
		LOG_WRN("Ignoring an invalid saved log record (%s)", name);
		return 0;
	}
	K_SPINLOCK(&lock) {
		(void)battery_log_ring_restore(&ring, &rec);
	}
	return 0;
}

SETTINGS_STATIC_HANDLER_DEFINE(battery_log_handler, "battery_log", NULL, log_set, NULL, NULL);

int battery_log_store_init(void)
{
	int err;

	battery_log_ring_init(&ring);
	err = settings_load_subtree("battery_log");
	if (err != 0) {
		LOG_ERR("Loading the battery log failed (%d)", err);
		return err;
	}
	LOG_INF("Battery log: %u records, newest %u", battery_log_ring_count(&ring), (unsigned)ring.newest);
	return 0;
}

void battery_log_store_add(struct battery_log_record *rec)
{
	uint8_t wire[BATTERY_LOG_RECORD_SIZE];
	char key[24];
	unsigned slot;
	int err;

	K_SPINLOCK(&lock) {
		slot = battery_log_ring_add(&ring, rec);
	}
	battery_log_record_to_wire(rec, wire);
	snprintf(key, sizeof(key), "battery_log/%u", slot);
	err = settings_save_one(key, wire, sizeof(wire));
	if (err != 0) {
		LOG_ERR("Saving the battery log record failed (%d)", err);
	}
	LOG_INF("Battery log %u: %u %%, %u mV, %d uA, display %u s", (unsigned)rec->seq, rec->percent, rec->mv,
		rec->avg_current_10ua * 10, rec->lit_s);
}

size_t battery_log_store_read(uint32_t selected, uint8_t out[BATTERY_LOG_READ_MAX])
{
	size_t len;

	K_SPINLOCK(&lock) {
		len = battery_log_read_wire(&ring, selected, out);
	}
	return len;
}
```

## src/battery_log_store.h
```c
/* The hourly battery log (battery_log.h) in RAM, saved to flash a record at a time. Safe to call from any thread. */

#ifndef BATTERY_LOG_STORE_H_
#define BATTERY_LOG_STORE_H_

#include <stddef.h>
#include <stdint.h>

#include "battery_log.h"

/* Loads the saved records. Call once at start-up, after cfg_store_init (which starts the settings). */
int battery_log_store_init(void);

/* Adds a record (numbering it) and schedules it to be saved. */
void battery_log_store_add(struct battery_log_record *rec);

/* The answer to a read of the log characteristic when `selected` was written last. Returns the length. */
size_t battery_log_store_read(uint32_t selected, uint8_t out[BATTERY_LOG_READ_MAX]);

#endif /* BATTERY_LOG_STORE_H_ */
```

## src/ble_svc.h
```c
/* BLE peripheral: advertising, connection tracking and the event characteristic. */

#ifndef BLE_SVC_H_
#define BLE_SVC_H_

#include <stdbool.h>
#include <stdint.h>

#include "battery.h"
#include "buddy_cfg.h"

/* Service UUID 6b1d0001-5c3a-4e5b-9b2a-6c1a0d0e0001, event ...0002, version ...0003, settings ...0004, status ...0005, usage ...0006, time ...0007, battery ...0008, battery log ...000a, measurement mode ...000b. */

/* Bump the protocol version when the GATT layout or event codes change incompatibly. */
#define BUDDY_PROTOCOL_VERSION 2
#define BUDDY_FW_VERSION_MAJOR 0
#define BUDDY_FW_VERSION_MINOR 8
#define BUDDY_FW_VERSION_PATCH 14

/* Capability bits, the fourth byte of the version characteristic. */
/* 0x01 is not used (it was a "restart into a firmware loader" command on an earlier board). */
#define BUDDY_CAP_BATTERY_SIM 0x02 /* the battery characteristic accepts simulated readings */
#define BUDDY_CAP_BATTERY_LOG 0x04 /* the battery log characteristic exists */
#define BUDDY_CAP_MEASURE 0x08     /* the measurement mode characteristic exists */
#define BUDDY_CAP_PAIRING 0x10     /* everything but the version needs a paired (encrypted) link */
#define BUDDY_CAP_SMP_UPDATE 0x20  /* the application takes firmware updates itself (SMP service) */

/* Size of the status characteristic: [mood, sessions, working, waiting, flags]. */
#define BUDDY_STATUS_SIZE 5
#define BUDDY_STATUS_FLAG_DISPLAY_OFF 0x01
#define BUDDY_STATUS_FLAG_MUTED 0x02
#define BUDDY_STATUS_FLAG_MEASURE 0x04 /* a measurement mode holds the buddy in one state */

/* Called from the Bluetooth thread: queue the work, do not block. */
typedef void (*ble_event_cb_t)(uint8_t code, uint8_t slot);
typedef void (*ble_link_cb_t)(bool connected);
typedef void (*ble_usage_cb_t)(const struct buddy_usage *usage);
typedef int (*ble_time_cb_t)(const uint8_t *wire, size_t len);
typedef int (*ble_battery_cb_t)(const struct battery_state *battery);

int ble_svc_init(ble_event_cb_t event_cb, ble_link_cb_t link_cb, ble_usage_cb_t usage_cb,
		 ble_time_cb_t time_cb, ble_battery_cb_t battery_cb);

/* Pairing window (no-ops when BUDDY_REQUIRE_PAIRING is off): new pairings are accepted only while it is open. */
void ble_svc_pairing_open(void);
/* Forgets every pairing, drops the link and opens the pairing window. */
void ble_svc_forget_bonds(void);

/* Publishes the current state; subscribed centrals are notified when it changes. */
void ble_svc_update_status(const uint8_t status[BUDDY_STATUS_SIZE]);

/* Publishes the battery state; subscribed centrals are notified when it changes. */
void ble_svc_update_battery(const uint8_t battery[BATTERY_WIRE_SIZE_FULL]);

#endif /* BLE_SVC_H_ */
```

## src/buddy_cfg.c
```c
#include <errno.h>

#include "buddy_cfg.h"

void buddy_cfg_defaults(struct buddy_cfg *cfg)
{
	cfg->brightness = 128;
	cfg->sleep_brightness = 8; /* dim, not off: a dark display looks broken to a new user */
	cfg->face_profile = 0;
	cfg->volume = 60;
	cfg->quiet_start_h = 22;
	cfg->quiet_end_h = 7;
	cfg->flags = 0;
}

int buddy_cfg_from_wire(struct buddy_cfg *cfg, const uint8_t *buf, size_t len)
{
	struct buddy_cfg next;

	if (len != BUDDY_CFG_WIRE_SIZE || buf[0] != BUDDY_CFG_FORMAT) {
		return -EINVAL;
	}

	next.brightness = buf[1];
	next.sleep_brightness = buf[2];
	next.face_profile = buf[3];
	next.volume = buf[4];
	next.quiet_start_h = buf[5];
	next.quiet_end_h = buf[6];
	next.flags = buf[7];

	if (next.brightness == 0 || next.face_profile >= FACE_PROFILE_COUNT || next.volume > 100 ||
	    next.quiet_start_h > 23 || next.quiet_end_h > 23 ||
	    (next.flags & ~BUDDY_CFG_FLAGS_KNOWN) != 0) {
		return -EINVAL;
	}

	*cfg = next;
	return 0;
}

void buddy_cfg_to_wire(const struct buddy_cfg *cfg, uint8_t out[BUDDY_CFG_WIRE_SIZE])
{
	out[0] = BUDDY_CFG_FORMAT;
	out[1] = cfg->brightness;
	out[2] = cfg->sleep_brightness;
	out[3] = cfg->face_profile;
	out[4] = cfg->volume;
	out[5] = cfg->quiet_start_h;
	out[6] = cfg->quiet_end_h;
	out[7] = cfg->flags;
}

int buddy_usage_from_wire(struct buddy_usage *usage, const uint8_t *buf, size_t len)
{
	if (len == 0 || (buf[0] == 1 && len != BUDDY_USAGE_WIRE_SIZE_V1) ||
	    (buf[0] == 2 && len != BUDDY_USAGE_WIRE_SIZE_V2) || (buf[0] != 1 && buf[0] != 2)) {
		return -EINVAL;
	}
	if ((buf[1] & ~BUDDY_USAGE_FLAGS_KNOWN) != 0) {
		return -EINVAL;
	}
	/* Without a budget there is nothing to be over, and no percentage to show. */
	if ((buf[1] & BUDDY_USAGE_FLAG_BUDGET) == 0 && (buf[1] != 0 || buf[2] != 0)) {
		return -EINVAL;
	}
	usage->flags = buf[1];
	usage->month_pct = buf[2];
	usage->has_amounts = (buf[0] == 2);
	usage->month_cents = 0;
	usage->today_cents = 0;
	if (usage->has_amounts) {
		usage->month_cents = (uint32_t)buf[3] | ((uint32_t)buf[4] << 8) |
				     ((uint32_t)buf[5] << 16) | ((uint32_t)buf[6] << 24);
		usage->today_cents = (uint16_t)(buf[7] | (buf[8] << 8));
	}
	return 0;
}

size_t buddy_usage_to_wire(const struct buddy_usage *usage, uint8_t out[BUDDY_USAGE_WIRE_SIZE_MAX])
{
	out[0] = usage->has_amounts ? 2 : 1;
	out[1] = usage->flags;
	out[2] = usage->month_pct;
	if (!usage->has_amounts) {
		return BUDDY_USAGE_WIRE_SIZE_V1;
	}
	out[3] = (uint8_t)(usage->month_cents);
	out[4] = (uint8_t)(usage->month_cents >> 8);
	out[5] = (uint8_t)(usage->month_cents >> 16);
	out[6] = (uint8_t)(usage->month_cents >> 24);
	out[7] = (uint8_t)(usage->today_cents);
	out[8] = (uint8_t)(usage->today_cents >> 8);
	return BUDDY_USAGE_WIRE_SIZE_V2;
}

bool buddy_cfg_is_quiet(const struct buddy_cfg *cfg, int hour)
{
	if (cfg->quiet_start_h == cfg->quiet_end_h) {
		return false;
	}
	if (cfg->quiet_start_h < cfg->quiet_end_h) {
		return hour >= cfg->quiet_start_h && hour < cfg->quiet_end_h;
	}
	return hour >= cfg->quiet_start_h || hour < cfg->quiet_end_h; /* wraps past midnight */
}
```
